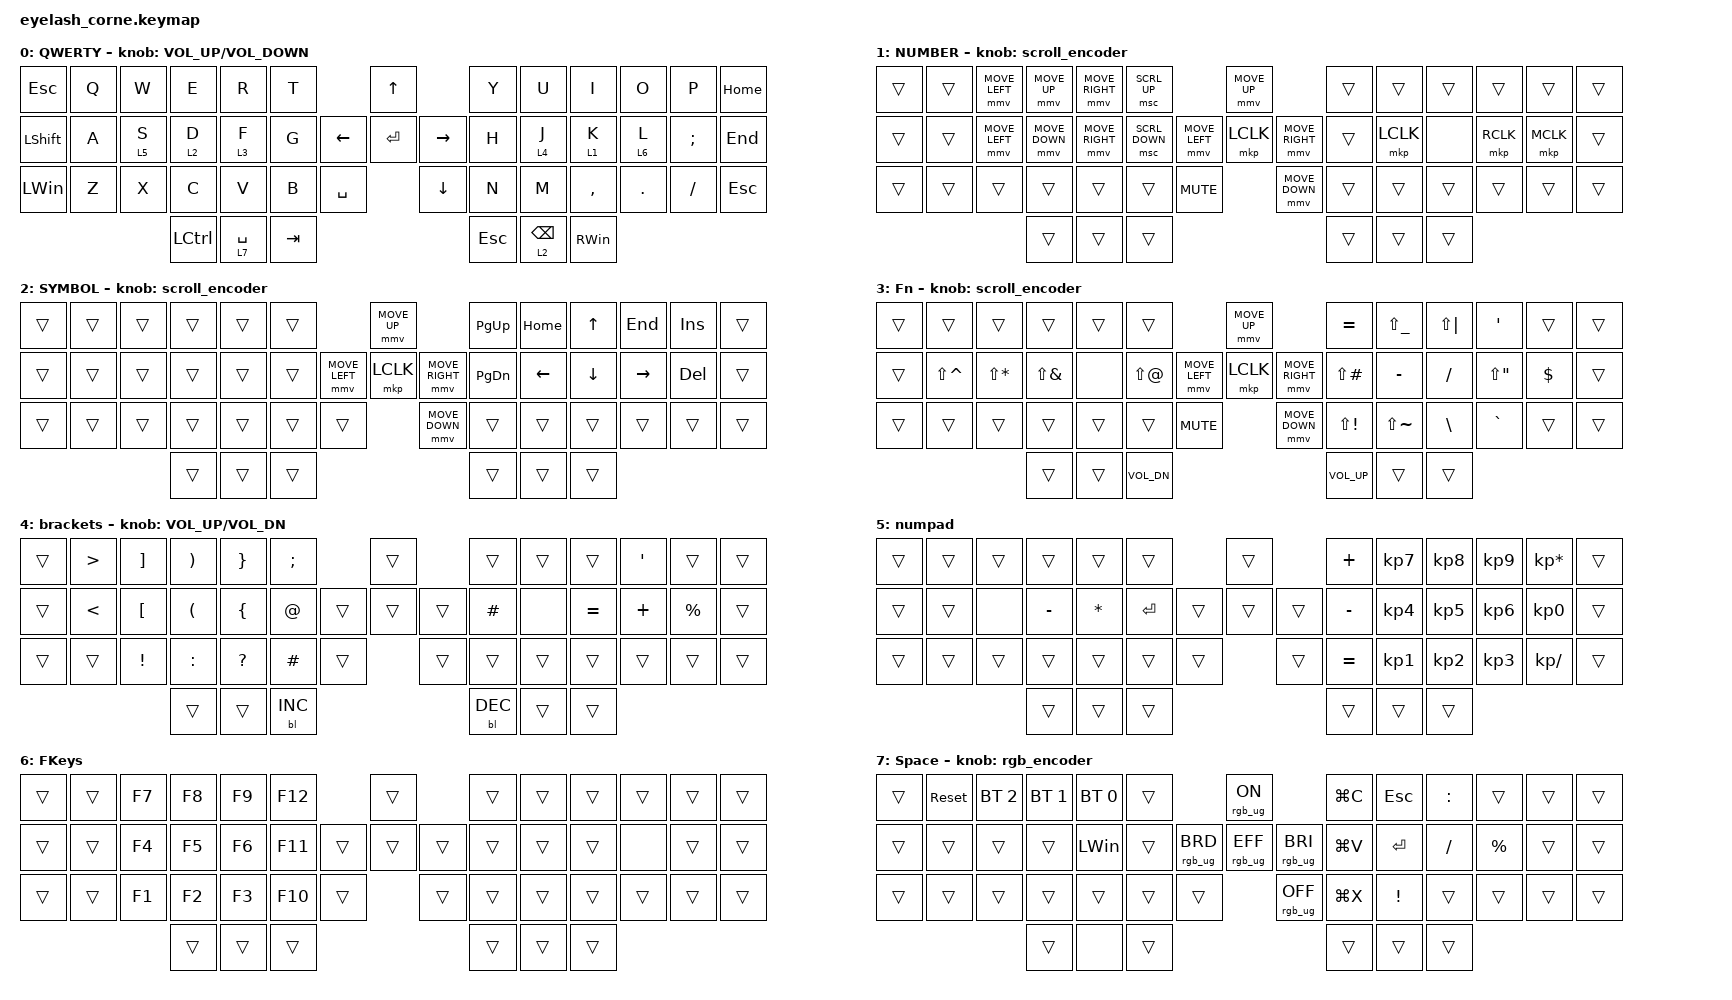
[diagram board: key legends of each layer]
#define ZMK_POINTING_DEFAULT_MOVE_VAL 1200  // 600
#define ZMK_POINTING_DEFAULT_SCRL_VAL 25   // 10

#include <input/processors.dtsi>
#include <zephyr/dt-bindings/input/input-event-codes.h>
#include <behaviors.dtsi>
#include <dt-bindings/zmk/backlight.h>
#include <dt-bindings/zmk/bt.h>
#include <dt-bindings/zmk/keys.h>
#include <dt-bindings/zmk/pointing.h>
#include <dt-bindings/zmk/rgb.h>

&mmv_input_listener { input-processors = <&zip_xy_scaler 2 1>; };

&msc_input_listener { input-processors = <&zip_scroll_scaler 2 1>; };

&msc {
    acceleration-exponent = <1>;      // 0
    time-to-max-speed-ms = <100>;       // 300
    delay-ms = <0>;                   // 0
};

&mmv {
    time-to-max-speed-ms = <500>;
    acceleration-exponent = <1>;
    trigger-period-ms = <16>;
};

/ {
    behaviors {
        td0: td0 {
            compatible = "zmk,behavior-tap-dance";
            display-name = "Shift/Caps Lock Tap Dance";
            #binding-cells = <0>;
            bindings = <&kp LEFT_SHIFT>, <&kp CAPS>;
        };
    };

    rgb_encoder: rgb_encoder {
        compatible = "zmk,behavior-sensor-rotate";
        #sensor-binding-cells = <0>;
        bindings = <&rgb_ug RGB_BRI>, <&rgb_ug RGB_BRD>;
    };

    scroll_encoder: scroll_encoder {
        compatible = "zmk,behavior-sensor-rotate";
        #sensor-binding-cells = <0>;
        bindings = <&msc SCRL_DOWN>, <&msc SCRL_UP>;

        tap-ms = <100>;
    };

    keymap {
        compatible = "zmk,keymap";

        default_layer {
            display-name = "QWERTY";
            bindings = <
&kp ESCAPE      &kp Q  &kp W    &kp E      &kp R        &kp T                           &kp UP                &kp Y    &kp U            &kp I          &kp O    &kp P     &kp HOME
&kp LEFT_SHIFT  &kp A  &lt 5 S  &lt 2 D    &lt 3 F      &kp G                 &kp LEFT  &kp ENTER  &kp RIGHT  &kp H    &lt 4 J          &lt 1 K        &lt 6 L  &kp SEMI  &kp END
&kp LEFT_WIN    &kp Z  &kp X    &kp C      &kp V        &kp B    &kp SPACE              &kp DOWN              &kp N    &kp M            &kp COMMA      &kp DOT  &kp FSLH  &kp ESC
                                &kp LCTRL  &lt 7 SPACE  &kp TAB                                               &kp ESC  &lt 2 BACKSPACE  &kp RIGHT_WIN
            >;

            sensor-bindings = <&inc_dec_kp C_VOLUME_UP C_VOLUME_DOWN>;
        };

        mouse {
            display-name = "NUMBER";
            bindings = <
&trans  &trans  &mmv MOVE_LEFT  &mmv MOVE_UP    &mmv MOVE_RIGHT  &msc SCRL_UP                                  &mmv MOVE_UP                     &trans  &trans     &trans  &trans     &trans     &trans
&trans  &trans  &mmv MOVE_LEFT  &mmv MOVE_DOWN  &mmv MOVE_RIGHT  &msc SCRL_DOWN                &mmv MOVE_LEFT  &mkp LCLK       &mmv MOVE_RIGHT  &trans  &mkp LCLK  &none   &mkp RCLK  &mkp MCLK  &trans
&trans  &trans  &trans          &trans          &trans           &trans          &kp C_MUTE                    &mmv MOVE_DOWN                   &trans  &trans     &trans  &trans     &trans     &trans
                                &trans          &trans           &trans                                                                         &trans  &trans     &trans
            >;

            sensor-bindings = <&scroll_encoder>;
            label = "mouse";
        };

        arrows {
            display-name = "SYMBOL";
            bindings = <
&trans  &trans  &trans  &trans  &trans  &trans                            &mmv MOVE_UP                     &kp PG_UP      &kp HOME  &kp UP_ARROW    &kp END    &kp INSERT  &trans
&trans  &trans  &trans  &trans  &trans  &trans            &mmv MOVE_LEFT  &mkp LCLK       &mmv MOVE_RIGHT  &kp PAGE_DOWN  &kp LEFT  &kp DOWN_ARROW  &kp RIGHT  &kp DEL     &trans
&trans  &trans  &trans  &trans  &trans  &trans  &trans                    &mmv MOVE_DOWN                   &trans         &trans    &trans          &trans     &trans      &trans
                        &trans  &trans  &trans                                                             &trans         &trans    &trans
            >;

            sensor-bindings = <&scroll_encoder>;
            label = "arrows";
        };

        symbols {
            display-name = "Fn";
            bindings = <
&trans  &trans         &trans        &trans        &trans  &trans                                      &mmv MOVE_UP                     &kp EQUAL            &kp LS(UNDER)  &kp LS(PIPE)  &kp SQT      &trans      &trans
&trans  &kp LS(CARET)  &kp LS(STAR)  &kp LS(AMPS)  &none   &kp LS(AT)                  &mmv MOVE_LEFT  &mkp LCLK       &mmv MOVE_RIGHT  &kp LS(POUND)        &kp MINUS      &kp FSLH      &kp LS(DQT)  &kp DOLLAR  &trans
&trans  &trans         &trans        &trans        &trans  &trans        &kp C_MUTE                    &mmv MOVE_DOWN                   &kp LS(EXCLAMATION)  &kp LS(TILDE)  &kp BSLH      &kp GRAVE    &trans      &trans
                                     &trans        &trans  &kp C_VOL_DN                                                                 &kp C_VOLUME_UP      &trans         &trans
            >;

            sensor-bindings = <&scroll_encoder>;
            label = "symbols";
        };

        brackets {
            bindings = <
&trans  &kp GREATER_THAN  &kp RIGHT_BRACKET  &kp RIGHT_PARENTHESIS  &kp RIGHT_BRACE  &kp SEMICOLON                    &trans          &trans      &trans  &trans     &kp SINGLE_QUOTE  &trans       &trans
&trans  &kp LESS_THAN     &kp LEFT_BRACKET   &kp LEFT_PARENTHESIS   &kp LEFT_BRACE   &kp AT_SIGN              &trans  &trans  &trans  &kp HASH    &none   &kp EQUAL  &kp PLUS          &kp PERCENT  &trans
&trans  &trans            &kp EXCLAMATION    &kp COLON              &kp QUESTION     &kp HASH       &trans            &trans          &trans      &trans  &trans     &trans            &trans       &trans
                                             &trans                 &trans           &bl BL_INC                                       &bl BL_DEC  &trans  &trans
            >;

            sensor-bindings = <&inc_dec_kp C_VOL_UP C_VOL_DN>;
            label = "brackets";
        };

        numbers {
            bindings = <
&trans  &trans  &trans  &trans     &trans     &trans                       &trans          &kp PLUS   &kp KP_NUMBER_7  &kp KP_NUMBER_8  &kp KP_NUMBER_9  &kp KP_MULTIPLY  &trans
&trans  &trans  &none   &kp MINUS  &kp ASTRK  &kp ENTER            &trans  &trans  &trans  &kp MINUS  &kp KP_NUMBER_4  &kp KP_NUMBER_5  &kp KP_NUMBER_6  &kp KP_NUMBER_0  &trans
&trans  &trans  &trans  &trans     &trans     &trans     &trans            &trans          &kp EQUAL  &kp KP_NUMBER_1  &kp KP_NUMBER_2  &kp KP_NUMBER_3  &kp KP_DIVIDE    &trans
                        &trans     &trans     &trans                                       &trans     &trans           &trans
            >;

            label = "numpad";
        };

        FKeys {
            bindings = <
&trans  &trans  &kp F7  &kp F8  &kp F9  &kp F12                    &trans          &trans  &trans  &trans  &trans  &trans  &trans
&trans  &trans  &kp F4  &kp F5  &kp F6  &kp F11            &trans  &trans  &trans  &trans  &trans  &trans  &none   &trans  &trans
&trans  &trans  &kp F1  &kp F2  &kp F3  &kp F10  &trans            &trans          &trans  &trans  &trans  &trans  &trans  &trans
                        &trans  &trans  &trans                                     &trans  &trans  &trans
            >;

            label = "FKeys";
        };

        Space_Layer {
            bindings = <
&trans  &sys_reset  &bt BT_SEL 2  &bt BT_SEL 1  &bt BT_SEL 0  &trans                             &rgb_ug RGB_ON                    &kp LG(C)  &kp ESCAPE       &kp COLON  &trans       &trans  &trans
&trans  &trans      &trans        &trans        &kp LEFT_WIN  &trans            &rgb_ug RGB_BRD  &rgb_ug RGB_EFF  &rgb_ug RGB_BRI  &kp LG(V)  &kp ENTER        &kp SLASH  &kp PERCENT  &trans  &trans
&trans  &trans      &trans        &trans        &trans        &trans  &trans                     &rgb_ug RGB_OFF                   &kp LG(X)  &kp EXCLAMATION  &trans     &trans       &trans  &trans
                                  &trans        &none         &trans                                                               &trans     &trans           &trans
            >;

            sensor-bindings = <&rgb_encoder>;
            label = "Space";
        };
    };
};
